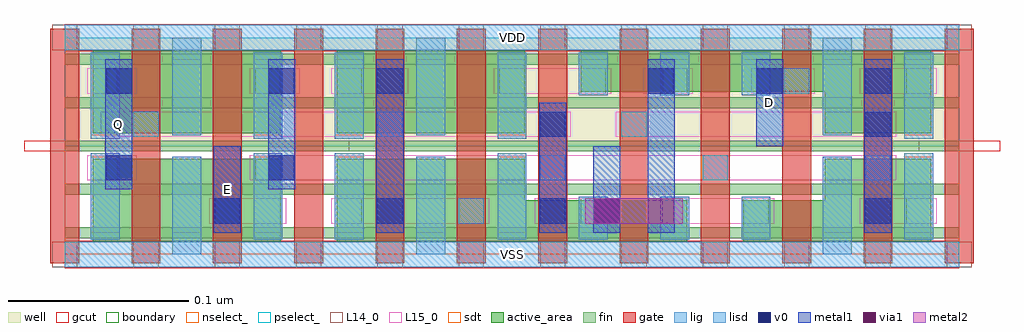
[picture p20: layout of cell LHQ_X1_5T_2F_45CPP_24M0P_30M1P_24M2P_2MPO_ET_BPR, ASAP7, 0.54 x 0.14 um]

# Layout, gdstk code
import gdstk
lib = gdstk.Library(unit=1e-6, precision=2.5e-10)
def R(c, l, rs):  # rectangles x0, y0, x1, y1
    for r in rs: c.add(gdstk.rectangle(r[:2], r[2:], *l))
def A(c, l, x, y, w, h, nx, ny, dx, dy):  # array of equal rectangles
    R(c, l, [(x+i*dx, y+j*dy, x+i*dx+w, y+j*dy+h) for i in range(nx) for j in range(ny)])
well = (1, 0)
fin = (2, 0)
gate = (7, 0)
gcut = (10, 0)
active_area = (11, 0)
nselect_ = (12, 0)
pselect_ = (13, 0)
L14_0 = (14, 0)
L15_0 = (15, 0)
lig = (16, 0)
lisd = (17, 0)
v0 = (18, 0)
metal1 = (19, 0)
metal2 = (20, 0)
via1 = (21, 0)
sdt = (88, 0)
boundary = (100, 0)

lhq_x1_5t_2f_45cpp_24m0p = lib.new_cell('LHQ_X1_5T_2F_45CPP_24M0P_30M1P_24M2P_2MPO_ET_BPR')
R(lhq_x1_5t_2f_45cpp_24m0p, well, [(0,0.06,0.495,0.12)])
A(lhq_x1_5t_2f_45cpp_24m0p, fin, 0, 0.009, 0.495, 0.006, 1, 5, 0, 0.024)
A(lhq_x1_5t_2f_45cpp_24m0p, gate, -0.008, -0.005, 0.016, 0.13, 12, 1, 0.045, 0)
R(lhq_x1_5t_2f_45cpp_24m0p, gcut, [(0,-0.0075,0.495,0.0075), (-0.0225,0.057,0.0225,0.063), (0.1125,0.057,0.1575,0.063), (0.4725,0.057,0.5175,0.063), (0,0.1125,0.495,0.1275)])
A(lhq_x1_5t_2f_45cpp_24m0p, active_area, 0.2855, 0.09, 0.059, 0.023, 3, 1, 0.045, 0)
R(lhq_x1_5t_2f_45cpp_24m0p, active_area, [(0.0155,0.007,0.0745,0.053), (0.0605,0.007,0.1195,0.053), (0.1505,0.007,0.2095,0.053), (0.1955,0.007,0.2545,0.053), (0.2405,0.007,0.2995,0.03), (0.2855,0.007,0.3445,0.03), (0.3755,0.007,0.4345,0.03), (0.4205,0.007,0.4795,0.053), (0.0155,0.067,0.0745,0.113), (0.0605,0.067,0.1195,0.113), (0.1505,0.067,0.2095,0.113), (0.1955,0.067,0.2545,0.113), (0.4205,0.067,0.4795,0.113)])
R(lhq_x1_5t_2f_45cpp_24m0p, nselect_, [(0,0,0.495,0.06)])
R(lhq_x1_5t_2f_45cpp_24m0p, pselect_, [(0,0.06,0.495,0.12)])
A(lhq_x1_5t_2f_45cpp_24m0p, L14_0, -0.007, -0.007, 0.014, 0.014, 12, 2, 0.045, 0.12)
A(lhq_x1_5t_2f_45cpp_24m0p, L14_0, 0.083, 0.017, 0.014, 0.014, 4, 1, 0.0675, 0)
A(lhq_x1_5t_2f_45cpp_24m0p, L14_0, 0.263, 0.041, 0.014, 0.014, 3, 1, 0.09, 0)
A(lhq_x1_5t_2f_45cpp_24m0p, L14_0, 0.038, 0.065, 0.014, 0.014, 3, 1, 0.135, 0)
A(lhq_x1_5t_2f_45cpp_24m0p, L14_0, 0.2405, 0.089, 0.014, 0.014, 3, 1, 0.045, 0)
R(lhq_x1_5t_2f_45cpp_24m0p, L14_0, [(0.3305,0.017,0.3445,0.031), (0.3755,0.017,0.3895,0.031), (0.4655,0.017,0.4795,0.031), (0.0155,0.041,0.0295,0.055), (0.1055,0.041,0.1195,0.055), (0.0155,0.089,0.0295,0.103), (0.1055,0.089,0.1195,0.103), (0.1505,0.089,0.1645,0.103), (0.398,0.089,0.412,0.103), (0.4655,0.089,0.4795,0.103)])
R(lhq_x1_5t_2f_45cpp_24m0p, L15_0, [(0,-0.007,0.495,0.007), (0.08,0.017,0.1225,0.031), (0.1475,0.017,0.235,0.031), (0.26,0.017,0.31,0.031), (0.3275,0.017,0.3925,0.031), (0.44,0.017,0.4825,0.031), (0.0125,0.041,0.04,0.055), (0.1025,0.041,0.46,0.055), (0.02,0.065,0.28,0.079), (0.305,0.065,0.46,0.079), (0.0125,0.089,0.04,0.103), (0.1025,0.089,0.13,0.103), (0.1475,0.089,0.19,0.103), (0.2375,0.089,0.3025,0.103), (0.32,0.089,0.3475,0.103), (0.38,0.089,0.415,0.103), (0.44,0.089,0.4825,0.103), (0,0.113,0.495,0.127)])
A(lhq_x1_5t_2f_45cpp_24m0p, lig, 0.263, 0.041, 0.014, 0.014, 3, 1, 0.09, 0)
A(lhq_x1_5t_2f_45cpp_24m0p, lig, 0.038, 0.065, 0.014, 0.014, 3, 1, 0.135, 0)
R(lhq_x1_5t_2f_45cpp_24m0p, lig, [(0,-0.007,0.495,0.007), (0.083,0.017,0.097,0.031), (0.218,0.017,0.232,0.031), (0.398,0.089,0.412,0.103), (0,0.113,0.495,0.127)])
A(lhq_x1_5t_2f_45cpp_24m0p, lisd, 0.2845, 0.008, 0.016, 0.024, 3, 2, 0.045, 0.08)
R(lhq_x1_5t_2f_45cpp_24m0p, lisd, [(0.0595,0,0.0755,0.054), (0.1945,0,0.2105,0.054), (0.4195,0,0.4355,0.054), (0.0145,0.008,0.0305,0.056), (0.1045,0.008,0.1205,0.056), (0.1495,0.008,0.1655,0.056), (0.2395,0.008,0.2555,0.056), (0.4645,0.008,0.4805,0.056), (0.0145,0.064,0.0305,0.112), (0.1045,0.064,0.1205,0.112), (0.1495,0.064,0.1655,0.112), (0.2395,0.064,0.2555,0.112), (0.4645,0.064,0.4805,0.112), (0.0595,0.066,0.0755,0.12), (0.1945,0.066,0.2105,0.12), (0.4195,0.066,0.4355,0.12)])
A(lhq_x1_5t_2f_45cpp_24m0p, v0, 0.083, 0.017, 0.014, 0.014, 3, 1, 0.09, 0)
A(lhq_x1_5t_2f_45cpp_24m0p, v0, 0.323, 0.089, 0.014, 0.014, 3, 1, 0.06, 0)
R(lhq_x1_5t_2f_45cpp_24m0p, v0, [(0.293,0.017,0.307,0.031), (0.443,0.017,0.457,0.031), (0.023,0.041,0.037,0.055), (0.113,0.041,0.127,0.055), (0.263,0.065,0.277,0.079), (0.443,0.065,0.457,0.079), (0.023,0.089,0.037,0.103), (0.113,0.089,0.127,0.103), (0.173,0.089,0.187,0.103)])
R(lhq_x1_5t_2f_45cpp_24m0p, metal1, [(0.0825,0.012,0.0975,0.06), (0.1725,0.012,0.1875,0.108), (0.2625,0.012,0.2775,0.084), (0.2925,0.012,0.3075,0.06), (0.3225,0.012,0.3375,0.108), (0.4425,0.012,0.4575,0.108), (0.0225,0.036,0.0375,0.108), (0.1125,0.036,0.1275,0.108), (0.3825,0.06,0.3975,0.108)])
R(lhq_x1_5t_2f_45cpp_24m0p, metal2, [(0.288,0.017,0.342,0.031)])
R(lhq_x1_5t_2f_45cpp_24m0p, via1, [(0.293,0.017,0.307,0.031), (0.323,0.017,0.337,0.031)])
A(lhq_x1_5t_2f_45cpp_24m0p, sdt, 0.0145, 0.012, 0.016, 0.042, 6, 2, 0.045, 0.054)
A(lhq_x1_5t_2f_45cpp_24m0p, sdt, 0.2845, 0.012, 0.016, 0.018, 3, 2, 0.045, 0.078)
R(lhq_x1_5t_2f_45cpp_24m0p, sdt, [(0.4195,0.012,0.4355,0.054), (0.4645,0.012,0.4805,0.054), (0.4195,0.066,0.4355,0.108), (0.4645,0.066,0.4805,0.108)])
R(lhq_x1_5t_2f_45cpp_24m0p, boundary, [(0,0,0.495,0.12)])
lhq_x1_5t_2f_45cpp_24m0p.add(gdstk.Label('Q', (0.03,0.072), layer=19, texttype=251))
lhq_x1_5t_2f_45cpp_24m0p.add(gdstk.Label('D', (0.39,0.084), layer=19, texttype=251))
lhq_x1_5t_2f_45cpp_24m0p.add(gdstk.Label('E', (0.09,0.036), layer=19, texttype=251))
lhq_x1_5t_2f_45cpp_24m0p.add(gdstk.Label('VDD', (0.2475,0.12), layer=15, texttype=251))
lhq_x1_5t_2f_45cpp_24m0p.add(gdstk.Label('VSS', (0.2475,0), layer=15, texttype=251))
lhq_x1_5t_2f_45cpp_24m0p.add(gdstk.Label('VDD', (0.2475,0.12), layer=1, texttype=251))
lhq_x1_5t_2f_45cpp_24m0p.add(gdstk.Label('VSS', (0.2475,0), layer=3, texttype=251))

lib.write_gds('LHQ_X1_5T_2F_45CPP_24M0P_30M1P_24M2P_2MPO_ET_BPR.gds')
